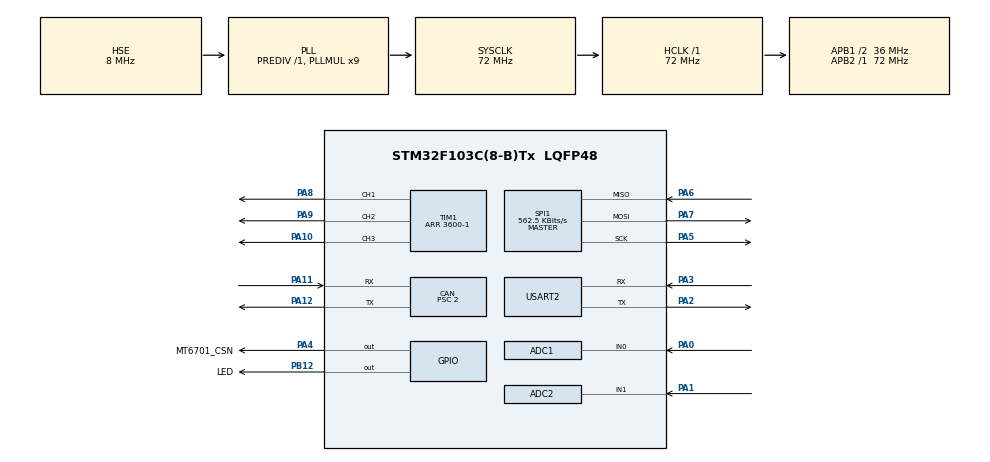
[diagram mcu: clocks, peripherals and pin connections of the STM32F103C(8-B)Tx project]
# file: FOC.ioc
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ADC1.Channel-5\#ChannelInjectedConversion=ADC_CHANNEL_0
ADC1.ContinuousConvMode=ENABLE
ADC1.EnableInjectedConversion=ENABLE
ADC1.EnableRegularConversion=DISABLE
ADC1.ExternalTrigInjecConv=ADC_EXTERNALTRIGINJECCONV_T1_TRGO
ADC1.InjNumberOfConversion=1
ADC1.InjectedOffset-5\#ChannelInjectedConversion=0
ADC1.InjectedRank-5\#ChannelInjectedConversion=1
ADC1.Mode=ADC_DUALMODE_INJECSIMULT
ADC1.SamplingTime-5\#ChannelInjectedConversion=ADC_SAMPLETIME_7CYCLES_5
ADC1.master=1
ADC2.Channel-4\#ChannelInjectedConversion=ADC_CHANNEL_1
ADC2.ContinuousConvMode=ENABLE
ADC2.EnableInjectedConversion=ENABLE
ADC2.EnableRegularConversion=DISABLE
ADC2.InjNumberOfConversion=1
ADC2.InjectedOffset-4\#ChannelInjectedConversion=0
ADC2.InjectedRank-4\#ChannelInjectedConversion=1
ADC2.Mode=ADC_DUALMODE_INJECSIMULT
ADC2.SamplingTime-4\#ChannelInjectedConversion=ADC_SAMPLETIME_7CYCLES_5
CAN.ABOM=ENABLE
CAN.BS1=CAN_BS1_12TQ
CAN.BS2=CAN_BS2_5TQ
CAN.CalculateBaudRate=999999
CAN.CalculateTimeBit=1000
CAN.CalculateTimeQuantum=55.55555555555556
CAN.Mode=CAN_MODE_NORMAL
CAN.NART=DISABLE
CAN.Prescaler=2
Dma.Request0=SPI1_TX
Dma.Request1=SPI1_RX
Dma.SPI1_RX.1.Direction=DMA_PERIPH_TO_MEMORY
Dma.SPI1_RX.1.Instance=DMA1_Channel2
Dma.SPI1_RX.1.MemDataAlignment=DMA_MDATAALIGN_BYTE
Dma.SPI1_RX.1.MemInc=DMA_MINC_ENABLE
Dma.SPI1_RX.1.Mode=DMA_NORMAL
Dma.SPI1_RX.1.PeriphDataAlignment=DMA_PDATAALIGN_BYTE
Dma.SPI1_RX.1.PeriphInc=DMA_PINC_DISABLE
Dma.SPI1_RX.1.Priority=DMA_PRIORITY_LOW
Dma.SPI1_TX.0.Direction=DMA_MEMORY_TO_PERIPH
Dma.SPI1_TX.0.Instance=DMA1_Channel3
Dma.SPI1_TX.0.MemDataAlignment=DMA_MDATAALIGN_BYTE
Dma.SPI1_TX.0.MemInc=DMA_MINC_ENABLE
Dma.SPI1_TX.0.Mode=DMA_NORMAL
Dma.SPI1_TX.0.PeriphDataAlignment=DMA_PDATAALIGN_BYTE
Dma.SPI1_TX.0.PeriphInc=DMA_PINC_DISABLE
Dma.SPI1_TX.0.Priority=DMA_PRIORITY_LOW
Mcu.Family=STM32F1
Mcu.Name=STM32F103C(8-B)Tx
Mcu.Package=LQFP48
NVIC.ADC1_2_IRQn=true\:1\:0\:true\:false\:true\:true\:true\:true
NVIC.DMA1_Channel2_IRQn=true\:0\:0\:false\:false\:true\:false\:true\:true
NVIC.DMA1_Channel3_IRQn=true\:0\:0\:false\:false\:true\:false\:true\:true
NVIC.PriorityGroup=NVIC_PRIORITYGROUP_4
NVIC.TIM2_IRQn=true\:0\:0\:true\:false\:true\:true\:true\:true
NVIC.USART2_IRQn=true\:0\:0\:true\:false\:true\:true\:true\:true
NVIC.USB_LP_CAN1_RX0_IRQn=true\:0\:0\:false\:false\:true\:true\:true\:true
PA0-WKUP.Signal=ADCx_IN0
PA1.Signal=ADCx_IN1
PA10.Signal=S_TIM1_CH3
PA11.Mode=CAN_Activate
PA11.Signal=CAN_RX
PA12.Mode=CAN_Activate
PA12.Signal=CAN_TX
PA13.Mode=Serial_Wire
PA13.Signal=SYS_JTMS-SWDIO
PA14.Mode=Serial_Wire
PA14.Signal=SYS_JTCK-SWCLK
PA2.Mode=Asynchronous
PA2.Signal=USART2_TX
PA3.Mode=Asynchronous
PA3.Signal=USART2_RX
PA4.GPIO_Label=MT6701_CSN
PA4.Signal=GPIO_Output
PA5.Mode=Full_Duplex_Master
PA5.Signal=SPI1_SCK
PA6.Mode=Full_Duplex_Master
PA6.Signal=SPI1_MISO
PA7.Mode=Full_Duplex_Master
PA7.Signal=SPI1_MOSI
PA8.Signal=S_TIM1_CH1
PA9.Signal=S_TIM1_CH2
PB12.GPIO_Label=LED
PB12.Signal=GPIO_Output
PC14-OSC32_IN.Mode=LSE-External-Oscillator
PC14-OSC32_IN.Signal=RCC_OSC32_IN
PC15-OSC32_OUT.Mode=LSE-External-Oscillator
PC15-OSC32_OUT.Signal=RCC_OSC32_OUT
PD0-OSC_IN.Mode=HSE-External-Oscillator
PD0-OSC_IN.Signal=RCC_OSC_IN
PD1-OSC_OUT.Mode=HSE-External-Oscillator
PD1-OSC_OUT.Signal=RCC_OSC_OUT
ProjectManager.HeapSize=0x200
ProjectManager.StackSize=0x400
ProjectManager.TargetToolchain=MDK-ARM V5.32
RCC.ADCPresc=RCC_ADCPCLK2_DIV6
RCC.AHBFreq_Value=72000000
RCC.APB1CLKDivider=RCC_HCLK_DIV2
RCC.APB1Freq_Value=36000000
RCC.APB1TimFreq_Value=72000000
RCC.APB2Freq_Value=72000000
RCC.APB2TimFreq_Value=72000000
RCC.HCLKFreq_Value=72000000
RCC.PLLMUL=RCC_PLL_MUL9
RCC.PLLSourceVirtual=RCC_PLLSOURCE_HSE
RCC.SYSCLKFreq_VALUE=72000000
RCC.SYSCLKSource=RCC_SYSCLKSOURCE_PLLCLK
RCC.USBFreq_Value=72000000
SH.ADCx_IN0.0=ADC1_IN0,IN0
SH.ADCx_IN1.0=ADC2_IN1,IN1
SH.S_TIM1_CH1.0=TIM1_CH1,PWM Generation1 CH1
SH.S_TIM1_CH2.0=TIM1_CH2,PWM Generation2 CH2
SH.S_TIM1_CH3.0=TIM1_CH3,PWM Generation3 CH3
SPI1.BaudRatePrescaler=SPI_BAUDRATEPRESCALER_128
SPI1.CLKPhase=SPI_PHASE_2EDGE
SPI1.CalculateBaudRate=562.5 KBits/s
SPI1.Direction=SPI_DIRECTION_2LINES
SPI1.Mode=SPI_MODE_MASTER
SPI1.VirtualType=VM_MASTER
STMicroelectronics.X-CUBE-ALGOBUILD.1.4.0.LibraryCcDSPOoLibraryJjDSPOoLibrary=true
TIM1.AutoReloadPreload=TIM_AUTORELOAD_PRELOAD_ENABLE
TIM1.Channel-PWM\ Generation1\ CH1=TIM_CHANNEL_1
TIM1.Channel-PWM\ Generation2\ CH2=TIM_CHANNEL_2
TIM1.Channel-PWM\ Generation3\ CH3=TIM_CHANNEL_3
TIM1.CounterMode=TIM_COUNTERMODE_CENTERALIGNED3
TIM1.Period=3600-1
TIM1.RepetitionCounter=4
TIM1.TIM_MasterOutputTrigger=TIM_TRGO_UPDATE
TIM2.AutoReloadPreload=TIM_AUTORELOAD_PRELOAD_ENABLE
TIM2.Period=1000-1
TIM2.Prescaler=72-1
USART2.VirtualMode=VM_ASYNC
VP_STMicroelectronics.X-CUBE-ALGOBUILD_VS_DSPOoLibraryJjLibrary_1.4.0_1.4.0.Mode=DSPOoLibraryJjLibrary
VP_TIM1_VS_ClockSourceINT.Mode=Internal
VP_TIM2_VS_ClockSourceINT.Mode=Internal
board=custom

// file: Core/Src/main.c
/* USER CODE BEGIN Header */
/**
  ******************************************************************************
  * @file           : main.c
  * @brief          : Main program body
  ******************************************************************************
  * @attention
  *
  * Copyright (c) 2026 STMicroelectronics.
  * All rights reserved.
  *
  * This software is licensed under terms that can be found in the LICENSE file
  * in the root directory of this software component.
  * If no LICENSE file comes with this software, it is provided AS-IS.
  *
  ******************************************************************************
  */
/* USER CODE END Header */
#include "main.h"
#include "adc.h"
#include "can.h"
#include "dma.h"
#include "spi.h"
#include "tim.h"
#include "usart.h"
#include "gpio.h"

/* USER CODE BEGIN Includes */
#include "MT6701.h"
#include "Open_Loop.h"
#include "PID.h"
#include "Paremeter.h"
#include "foc_can.h"
#include <stdio.h>
#include <string.h>
/* USER CODE END Includes */

void SystemClock_Config(void);

/* USER CODE BEGIN 0 */

float Encoder_Offset;
float d_u=0;
float d_v=0;
float d_w=0;
extern float I_U,I_V;
static uint32_t serial_telemetry_ms;

static void Serial_SendTelemetry(void)
{
  char tx[256];
  int length;

  if (UART2_GetLogMode() == UART2_LOG_TEXT)
  {
    length = snprintf(tx,
                      sizeof(tx),
                      "speed_rad_s=%.5f,target=%.5f,enc_rad=%.5f,motor_deg=%.3f,elec_rad=%.5f,pos_rad=%.5f,iq=%.5f,id=%.5f,cmd=%u\r\n",
                      (double)Filter_Speed,
                      (double)CMD.Target,
                      (double)Encoder_Angle,
                      (double)Motor_Angle,
                      (double)Elec_Angle,
                      (double)Motor_Position_Rad,
                      (double)Filter_I_q,
                      (double)Filter_I_d,
                      (unsigned)CMD.CMD_Type);
  }
  else
  {
    length = snprintf(tx,
                      sizeof(tx),
                      "%.5f,%.5f,%.5f,%.3f,%.5f,%.5f,%.5f,%.5f,%u\r\n",
                      (double)Filter_Speed,
                      (double)CMD.Target,
                      (double)Encoder_Angle,
                      (double)Motor_Angle,
                      (double)Elec_Angle,
                      (double)Motor_Position_Rad,
                      (double)Filter_I_q,
                      (double)Filter_I_d,
                      (unsigned)CMD.CMD_Type);
  }
  if (length < 0)
  {
    return;
  }
  if ((uint32_t)length >= sizeof(tx))
  {
    length = (int)sizeof(tx) - 1;
  }
  (void)UART2_SendBuffer((const uint8_t *)tx, (uint16_t)length);
}

/* USER CODE END 0 */

int main(void)
{

  /* MCU Configuration--------------------------------------------------------*/

  /* Reset of all peripherals, Initializes the Flash interface and the Systick. */
  HAL_Init();

  /* Configure the system clock */
  SystemClock_Config();

  /* Initialize all configured peripherals */
  MX_GPIO_Init();
  MX_DMA_Init();
  MX_SPI1_Init();
  MX_TIM1_Init();
  MX_ADC1_Init();
  MX_ADC2_Init();
  MX_CAN_Init();
  MX_TIM2_Init();
  MX_USART2_UART_Init();
  /* USER CODE BEGIN 2 */

	extern uint8_t MT6701_Data[2];
	CS_Enable;
	HAL_SPI_TransmitReceive_DMA(&hspi1,MT6701_Data,MT6701_Data,2);
	HAL_Delay(10);

	HAL_TIM_PWM_Start(&htim1,TIM_CHANNEL_1);
	HAL_TIM_PWM_Start(&htim1,TIM_CHANNEL_2);
	HAL_TIM_PWM_Start(&htim1,TIM_CHANNEL_3);

	PWM_Set_Compare(0.7, 0, 0);
  HAL_Delay(500);
  PWM_Set_Compare(0, 0, 0);
  HAL_Delay(500);
	Encoder_Offset =Encoder_Angle;

  PID_Init(&PID_Speed,0.01,0.0002,0,0.5,-0.5,1,-1);
  PID_Init(&PID_Torque_d,1,0.001,0.5,0.2,-0.2,1,-1);
	PID_Init(&PID_Torque_q,1,0.01,0,0.1,-0.1,1,-1);
	PID_Init(&PID_Position,6.0,0.0,0.0,0.0,0.0,10.0,-10.0);

	if (FocCan_Init() != HAL_OK)
	{
	  Error_Handler();
	}

	HAL_TIM_Base_Start_IT(&htim2);

	HAL_ADCEx_Calibration_Start(&hadc1);
	HAL_ADCEx_Calibration_Start(&hadc2);
	HAL_ADCEx_InjectedStart_IT(&hadc1);
	HAL_ADCEx_InjectedStart(&hadc2);

	UART2_StartRx();

  /* USER CODE END 2 */

  /* Infinite loop */
  /* USER CODE BEGIN WHILE */
  while (1)
  {
	  uint32_t now = HAL_GetTick();

	  FocCan_Process();
	  UART2_ProcessPendingCommand();
	  UART2_PollRecovery();
	  if ((now - serial_telemetry_ms) >= 50U)
	  {
	    serial_telemetry_ms = now;
	    Serial_SendTelemetry();
	  }
	  HAL_Delay(1);
    /* USER CODE END WHILE */

  }
}

void SystemClock_Config(void)
{
  RCC_OscInitTypeDef RCC_OscInitStruct = {0};
  RCC_ClkInitTypeDef RCC_ClkInitStruct = {0};
  RCC_PeriphCLKInitTypeDef PeriphClkInit = {0};

  /** Initializes the RCC Oscillators according to the specified parameters
  * in the RCC_OscInitTypeDef structure.
  */
  RCC_OscInitStruct.OscillatorType = RCC_OSCILLATORTYPE_HSE;
  RCC_OscInitStruct.HSEState = RCC_HSE_ON;
  RCC_OscInitStruct.HSEPredivValue = RCC_HSE_PREDIV_DIV1;
  RCC_OscInitStruct.HSIState = RCC_HSI_ON;
  RCC_OscInitStruct.PLL.PLLState = RCC_PLL_ON;
  RCC_OscInitStruct.PLL.PLLSource = RCC_PLLSOURCE_HSE;
  RCC_OscInitStruct.PLL.PLLMUL = RCC_PLL_MUL9;
  if (HAL_RCC_OscConfig(&RCC_OscInitStruct) != HAL_OK)
  {
    Error_Handler();
  }

  /** Initializes the CPU, AHB and APB buses clocks
  */
  RCC_ClkInitStruct.ClockType = RCC_CLOCKTYPE_HCLK|RCC_CLOCKTYPE_SYSCLK
                              |RCC_CLOCKTYPE_PCLK1|RCC_CLOCKTYPE_PCLK2;
  RCC_ClkInitStruct.SYSCLKSource = RCC_SYSCLKSOURCE_PLLCLK;
  RCC_ClkInitStruct.AHBCLKDivider = RCC_SYSCLK_DIV1;
  RCC_ClkInitStruct.APB1CLKDivider = RCC_HCLK_DIV2;
  RCC_ClkInitStruct.APB2CLKDivider = RCC_HCLK_DIV1;

  if (HAL_RCC_ClockConfig(&RCC_ClkInitStruct, FLASH_LATENCY_2) != HAL_OK)
  {
    Error_Handler();
  }
  PeriphClkInit.PeriphClockSelection = RCC_PERIPHCLK_ADC;
  PeriphClkInit.AdcClockSelection = RCC_ADCPCLK2_DIV6;
  if (HAL_RCCEx_PeriphCLKConfig(&PeriphClkInit) != HAL_OK)
  {
    Error_Handler();
  }
}

void Error_Handler(void)
{
  __disable_irq();
  while (1)
  {
  }
}
